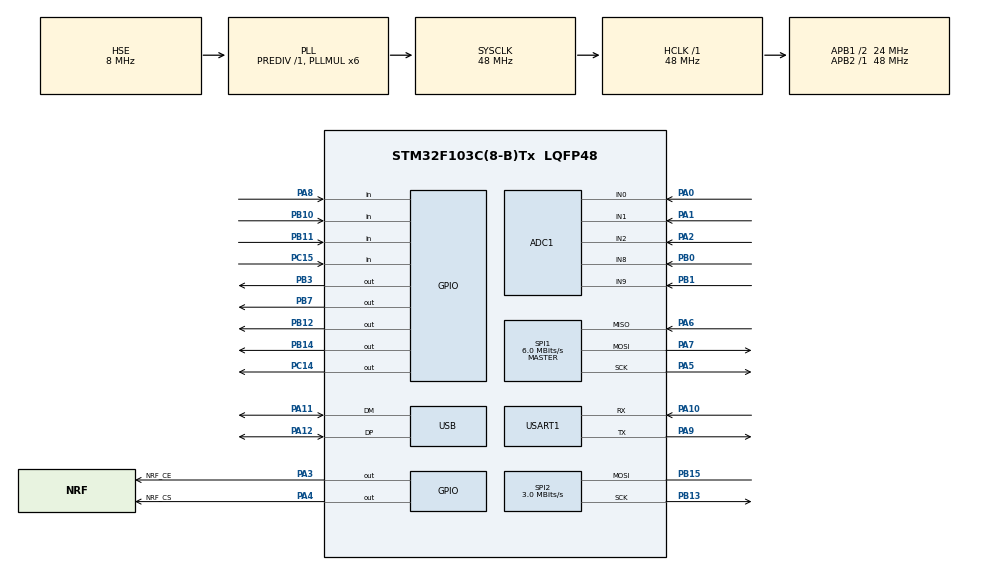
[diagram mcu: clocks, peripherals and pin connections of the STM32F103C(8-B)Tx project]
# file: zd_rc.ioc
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ADC1.Channel-0\#ChannelRegularConversion=ADC_CHANNEL_1
ADC1.Channel-1\#ChannelRegularConversion=ADC_CHANNEL_2
ADC1.Channel-2\#ChannelRegularConversion=ADC_CHANNEL_8
ADC1.Channel-3\#ChannelRegularConversion=ADC_CHANNEL_9
ADC1.ContinuousConvMode=ENABLE
ADC1.NbrOfConversion=4
ADC1.NbrOfConversionFlag=1
ADC1.Rank-0\#ChannelRegularConversion=1
ADC1.Rank-1\#ChannelRegularConversion=2
ADC1.Rank-2\#ChannelRegularConversion=3
ADC1.Rank-3\#ChannelRegularConversion=4
ADC1.SamplingTime-0\#ChannelRegularConversion=ADC_SAMPLETIME_1CYCLE_5
ADC1.SamplingTime-1\#ChannelRegularConversion=ADC_SAMPLETIME_1CYCLE_5
ADC1.SamplingTime-2\#ChannelRegularConversion=ADC_SAMPLETIME_1CYCLE_5
ADC1.SamplingTime-3\#ChannelRegularConversion=ADC_SAMPLETIME_1CYCLE_5
ADC1.master=1
Dma.ADC1.0.Direction=DMA_PERIPH_TO_MEMORY
Dma.ADC1.0.Instance=DMA1_Channel1
Dma.ADC1.0.MemDataAlignment=DMA_MDATAALIGN_WORD
Dma.ADC1.0.MemInc=DMA_MINC_ENABLE
Dma.ADC1.0.Mode=DMA_CIRCULAR
Dma.ADC1.0.PeriphDataAlignment=DMA_PDATAALIGN_WORD
Dma.ADC1.0.PeriphInc=DMA_PINC_DISABLE
Dma.ADC1.0.Priority=DMA_PRIORITY_HIGH
Dma.Request0=ADC1
Mcu.Family=STM32F1
Mcu.Name=STM32F103C(8-B)Tx
Mcu.Package=LQFP48
NVIC.ADC1_2_IRQn=true\:0\:0\:false\:false\:true\:true\:true
NVIC.DMA1_Channel1_IRQn=true\:0\:0\:false\:false\:true\:false\:true
NVIC.PriorityGroup=NVIC_PRIORITYGROUP_4
NVIC.USB_LP_CAN1_RX0_IRQn=true\:0\:0\:false\:false\:true\:false\:true
PA0-WKUP.Signal=ADCx_IN0
PA1.Signal=ADCx_IN1
PA10.Mode=Asynchronous
PA10.Signal=USART1_RX
PA11.Mode=Device
PA11.Signal=USB_DM
PA12.Mode=Device
PA12.Signal=USB_DP
PA13.Mode=Serial_Wire
PA13.Signal=SYS_JTMS-SWDIO
PA14.Mode=Serial_Wire
PA14.Signal=SYS_JTCK-SWCLK
PA2.Signal=ADCx_IN2
PA3.GPIO_Label=NRF_CE
PA3.Signal=GPIO_Output
PA4.GPIO_Label=NRF_CS
PA4.Signal=GPIO_Output
PA5.Mode=Full_Duplex_Master
PA5.Signal=SPI1_SCK
PA6.Mode=Full_Duplex_Master
PA6.Signal=SPI1_MISO
PA7.Mode=Full_Duplex_Master
PA7.Signal=SPI1_MOSI
PA8.GPIO_PuPd=GPIO_PULLUP
PA8.Signal=GPIO_Input
PA9.Mode=Asynchronous
PA9.Signal=USART1_TX
PB0.Signal=ADCx_IN8
PB1.Signal=ADCx_IN9
PB10.GPIO_PuPd=GPIO_PULLUP
PB10.Signal=GPIO_Input
PB11.GPIO_PuPd=GPIO_PULLUP
PB11.Signal=GPIO_Input
PB12.Signal=GPIO_Output
PB13.Mode=Simplex_Bidirectional_Master
PB13.Signal=SPI2_SCK
PB14.Signal=GPIO_Output
PB15.Mode=Simplex_Bidirectional_Master
PB15.Signal=SPI2_MOSI
PB3.Signal=GPIO_Output
PB7.Signal=GPIO_Output
PC14-OSC32_IN.Signal=GPIO_Output
PC15-OSC32_OUT.GPIO_PuPd=GPIO_PULLUP
PC15-OSC32_OUT.Signal=GPIO_Input
PD0-OSC_IN.Mode=HSE-External-Oscillator
PD0-OSC_IN.Signal=RCC_OSC_IN
PD1-OSC_OUT.Mode=HSE-External-Oscillator
PD1-OSC_OUT.Signal=RCC_OSC_OUT
ProjectManager.HeapSize=0x200
ProjectManager.StackSize=0x400
ProjectManager.TargetToolchain=EWARM V8
RCC.ADCPresc=RCC_ADCPCLK2_DIV4
RCC.AHBFreq_Value=48000000
RCC.APB1CLKDivider=RCC_HCLK_DIV2
RCC.APB1Freq_Value=24000000
RCC.APB1TimFreq_Value=48000000
RCC.APB2Freq_Value=48000000
RCC.APB2TimFreq_Value=48000000
RCC.HCLKFreq_Value=48000000
RCC.PLLMUL=RCC_PLL_MUL6
RCC.PLLSourceVirtual=RCC_PLLSOURCE_HSE
RCC.SYSCLKFreq_VALUE=48000000
RCC.SYSCLKSource=RCC_SYSCLKSOURCE_PLLCLK
RCC.USBFreq_Value=48000000
SH.ADCx_IN0.0=ADC1_IN0,IN0
SH.ADCx_IN1.0=ADC1_IN1,IN1
SH.ADCx_IN2.0=ADC1_IN2,IN2
SH.ADCx_IN8.0=ADC1_IN8,IN8
SH.ADCx_IN9.0=ADC1_IN9,IN9
SPI1.BaudRatePrescaler=SPI_BAUDRATEPRESCALER_8
SPI1.CalculateBaudRate=6.0 MBits/s
SPI1.Direction=SPI_DIRECTION_2LINES
SPI1.Mode=SPI_MODE_MASTER
SPI1.VirtualType=VM_MASTER
SPI2.BaudRatePrescaler=SPI_BAUDRATEPRESCALER_8
SPI2.CalculateBaudRate=3.0 MBits/s
SPI2.Direction=SPI_DIRECTION_1LINE
SPI2.Mode=SPI_MODE_MASTER
SPI2.VirtualType=VM_MASTER
USART1.VirtualMode=VM_ASYNC
USB_DEVICE.CLASS_NAME_FS=CDC
USB_DEVICE.VirtualMode=Cdc
USB_DEVICE.VirtualModeFS=Cdc_FS
VP_USB_DEVICE_VS_USB_DEVICE_CDC_FS.Mode=CDC_FS
board=custom

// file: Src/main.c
/* USER CODE BEGIN Header */
/**
  ******************************************************************************
  * @file           : main.c
  * @brief          : Main program body
  ******************************************************************************
  * @attention
  *
  * <h2><center>&copy; Copyright (c) 2019 STMicroelectronics.
  * All rights reserved.</center></h2>
  *
  * This software component is licensed by ST under Ultimate Liberty license
  * SLA0044, the "License"; You may not use this file except in compliance with
  * the License. You may obtain a copy of the License at:
  *                             www.st.com/SLA0044
  *
  ******************************************************************************
  */
/* USER CODE END Header */

#include "main.h"
#include "usb_device.h"

/* USER CODE BEGIN Includes */
#include "MY_NRF24.h"
#include "nrf_mavlink.h"
#include "ssd1306.h"
/* USER CODE END Includes */

ADC_HandleTypeDef hadc1;
DMA_HandleTypeDef hdma_adc1;

SPI_HandleTypeDef hspi1;
SPI_HandleTypeDef hspi2;

UART_HandleTypeDef huart1;

void SystemClock_Config(void);
static void MX_GPIO_Init(void);
static void MX_DMA_Init(void);
static void MX_ADC1_Init(void);
static void MX_SPI1_Init(void);
static void MX_USART1_UART_Init(void);
static void MX_SPI2_Init(void);
/* USER CODE BEGIN PFP */
void setup(void);
void loop(void);
/* USER CODE END PFP */

/* USER CODE BEGIN 0 */
uint64_t RxpipeAddrs = 0x11223344AA;
/* USER CODE END 0 */

int main(void)
{

  /* MCU Configuration--------------------------------------------------------*/

  /* Reset of all peripherals, Initializes the Flash interface and the Systick. */
  HAL_Init();

  /* Configure the system clock */
  SystemClock_Config();

  /* Initialize all configured peripherals */
  MX_GPIO_Init();
  MX_DMA_Init();
  MX_ADC1_Init();
  MX_SPI1_Init();
  MX_USART1_UART_Init();
  MX_SPI2_Init();
  MX_USB_DEVICE_Init();
  /* USER CODE BEGIN 2 */
  HAL_GPIO_WritePin(GPIOB, GPIO_PIN_3, GPIO_PIN_SET);
  HAL_GPIO_WritePin(GPIOB, GPIO_PIN_7, GPIO_PIN_SET);
  NRF24_begin(NRF_CE_GPIO_Port, NRF_CS_Pin, NRF_CE_Pin, hspi1);
  printRadioSettings();

  NRF24_setAutoAck(true);
  NRF24_setChannel(52);
  NRF24_setPayloadSize(32);
  NRF24_openReadingPipe(1, RxpipeAddrs);

  NRF24_enableDynamicPayloads();
  NRF24_enableAckPayload();

  NRF24_startListening();

  SSD1306_Init();

  setup();
  /* USER CODE END 2 */

  /* Infinite loop */
  /* USER CODE BEGIN WHILE */
  while (1)
  {
    update_mavlink();
    loop();
    /* USER CODE END WHILE */

  }
}

void SystemClock_Config(void)
{
  RCC_OscInitTypeDef RCC_OscInitStruct = {0};
  RCC_ClkInitTypeDef RCC_ClkInitStruct = {0};
  RCC_PeriphCLKInitTypeDef PeriphClkInit = {0};

  /** Initializes the CPU, AHB and APB busses clocks
  */
  RCC_OscInitStruct.OscillatorType = RCC_OSCILLATORTYPE_HSE;
  RCC_OscInitStruct.HSEState = RCC_HSE_ON;
  RCC_OscInitStruct.HSEPredivValue = RCC_HSE_PREDIV_DIV1;
  RCC_OscInitStruct.HSIState = RCC_HSI_ON;
  RCC_OscInitStruct.PLL.PLLState = RCC_PLL_ON;
  RCC_OscInitStruct.PLL.PLLSource = RCC_PLLSOURCE_HSE;
  RCC_OscInitStruct.PLL.PLLMUL = RCC_PLL_MUL6;
  if (HAL_RCC_OscConfig(&RCC_OscInitStruct) != HAL_OK)
  {
    Error_Handler();
  }
  /** Initializes the CPU, AHB and APB busses clocks
  */
  RCC_ClkInitStruct.ClockType = RCC_CLOCKTYPE_HCLK|RCC_CLOCKTYPE_SYSCLK
                              |RCC_CLOCKTYPE_PCLK1|RCC_CLOCKTYPE_PCLK2;
  RCC_ClkInitStruct.SYSCLKSource = RCC_SYSCLKSOURCE_PLLCLK;
  RCC_ClkInitStruct.AHBCLKDivider = RCC_SYSCLK_DIV1;
  RCC_ClkInitStruct.APB1CLKDivider = RCC_HCLK_DIV2;
  RCC_ClkInitStruct.APB2CLKDivider = RCC_HCLK_DIV1;

  if (HAL_RCC_ClockConfig(&RCC_ClkInitStruct, FLASH_LATENCY_1) != HAL_OK)
  {
    Error_Handler();
  }
  PeriphClkInit.PeriphClockSelection = RCC_PERIPHCLK_ADC|RCC_PERIPHCLK_USB;
  PeriphClkInit.AdcClockSelection = RCC_ADCPCLK2_DIV4;
  PeriphClkInit.UsbClockSelection = RCC_USBCLKSOURCE_PLL;
  if (HAL_RCCEx_PeriphCLKConfig(&PeriphClkInit) != HAL_OK)
  {
    Error_Handler();
  }
}

static void MX_ADC1_Init(void)
{

  ADC_ChannelConfTypeDef sConfig = {0};

  /** Common config
  */
  hadc1.Instance = ADC1;
  hadc1.Init.ScanConvMode = ADC_SCAN_ENABLE;
  hadc1.Init.ContinuousConvMode = ENABLE;
  hadc1.Init.DiscontinuousConvMode = DISABLE;
  hadc1.Init.ExternalTrigConv = ADC_SOFTWARE_START;
  hadc1.Init.DataAlign = ADC_DATAALIGN_RIGHT;
  hadc1.Init.NbrOfConversion = 4;
  if (HAL_ADC_Init(&hadc1) != HAL_OK)
  {
    Error_Handler();
  }
  /** Configure Regular Channel
  */
  sConfig.Channel = ADC_CHANNEL_1;
  sConfig.Rank = ADC_REGULAR_RANK_1;
  sConfig.SamplingTime = ADC_SAMPLETIME_1CYCLE_5;
  if (HAL_ADC_ConfigChannel(&hadc1, &sConfig) != HAL_OK)
  {
    Error_Handler();
  }
  /** Configure Regular Channel
  */
  sConfig.Channel = ADC_CHANNEL_2;
  sConfig.Rank = ADC_REGULAR_RANK_2;
  if (HAL_ADC_ConfigChannel(&hadc1, &sConfig) != HAL_OK)
  {
    Error_Handler();
  }
  /** Configure Regular Channel
  */
  sConfig.Channel = ADC_CHANNEL_8;
  sConfig.Rank = ADC_REGULAR_RANK_3;
  if (HAL_ADC_ConfigChannel(&hadc1, &sConfig) != HAL_OK)
  {
    Error_Handler();
  }
  /** Configure Regular Channel
  */
  sConfig.Channel = ADC_CHANNEL_9;
  sConfig.Rank = ADC_REGULAR_RANK_4;
  if (HAL_ADC_ConfigChannel(&hadc1, &sConfig) != HAL_OK)
  {
    Error_Handler();
  }

}

static void MX_SPI1_Init(void)
{

  /* SPI1 parameter configuration*/
  hspi1.Instance = SPI1;
  hspi1.Init.Mode = SPI_MODE_MASTER;
  hspi1.Init.Direction = SPI_DIRECTION_2LINES;
  hspi1.Init.DataSize = SPI_DATASIZE_8BIT;
  hspi1.Init.CLKPolarity = SPI_POLARITY_LOW;
  hspi1.Init.CLKPhase = SPI_PHASE_1EDGE;
  hspi1.Init.NSS = SPI_NSS_SOFT;
  hspi1.Init.BaudRatePrescaler = SPI_BAUDRATEPRESCALER_8;
  hspi1.Init.FirstBit = SPI_FIRSTBIT_MSB;
  hspi1.Init.TIMode = SPI_TIMODE_DISABLE;
  hspi1.Init.CRCCalculation = SPI_CRCCALCULATION_DISABLE;
  hspi1.Init.CRCPolynomial = 10;
  if (HAL_SPI_Init(&hspi1) != HAL_OK)
  {
    Error_Handler();
  }

}

static void MX_SPI2_Init(void)
{

  /* SPI2 parameter configuration*/
  hspi2.Instance = SPI2;
  hspi2.Init.Mode = SPI_MODE_MASTER;
  hspi2.Init.Direction = SPI_DIRECTION_1LINE;
  hspi2.Init.DataSize = SPI_DATASIZE_8BIT;
  hspi2.Init.CLKPolarity = SPI_POLARITY_LOW;
  hspi2.Init.CLKPhase = SPI_PHASE_1EDGE;
  hspi2.Init.NSS = SPI_NSS_SOFT;
  hspi2.Init.BaudRatePrescaler = SPI_BAUDRATEPRESCALER_8;
  hspi2.Init.FirstBit = SPI_FIRSTBIT_MSB;
  hspi2.Init.TIMode = SPI_TIMODE_DISABLE;
  hspi2.Init.CRCCalculation = SPI_CRCCALCULATION_DISABLE;
  hspi2.Init.CRCPolynomial = 10;
  if (HAL_SPI_Init(&hspi2) != HAL_OK)
  {
    Error_Handler();
  }

}

static void MX_USART1_UART_Init(void)
{

  huart1.Instance = USART1;
  huart1.Init.BaudRate = 115200;
  huart1.Init.WordLength = UART_WORDLENGTH_8B;
  huart1.Init.StopBits = UART_STOPBITS_1;
  huart1.Init.Parity = UART_PARITY_NONE;
  huart1.Init.Mode = UART_MODE_TX_RX;
  huart1.Init.HwFlowCtl = UART_HWCONTROL_NONE;
  huart1.Init.OverSampling = UART_OVERSAMPLING_16;
  if (HAL_UART_Init(&huart1) != HAL_OK)
  {
    Error_Handler();
  }

}

static void MX_DMA_Init(void)
{
  /* DMA controller clock enable */
  __HAL_RCC_DMA1_CLK_ENABLE();

  /* DMA interrupt init */
  /* DMA1_Channel1_IRQn interrupt configuration */
  HAL_NVIC_SetPriority(DMA1_Channel1_IRQn, 0, 0);
  HAL_NVIC_EnableIRQ(DMA1_Channel1_IRQn);

}

static void MX_GPIO_Init(void)
{
  GPIO_InitTypeDef GPIO_InitStruct = {0};

  /* GPIO Ports Clock Enable */
  __HAL_RCC_GPIOC_CLK_ENABLE();
  __HAL_RCC_GPIOD_CLK_ENABLE();
  __HAL_RCC_GPIOA_CLK_ENABLE();
  __HAL_RCC_GPIOB_CLK_ENABLE();

  /*Configure GPIO pin Output Level */
  HAL_GPIO_WritePin(GPIOC, GPIO_PIN_14, GPIO_PIN_RESET);

  /*Configure GPIO pin Output Level */
  HAL_GPIO_WritePin(GPIOA, NRF_CE_Pin|NRF_CS_Pin, GPIO_PIN_RESET);

  /*Configure GPIO pin Output Level */
  HAL_GPIO_WritePin(GPIOB, GPIO_PIN_12|GPIO_PIN_14|GPIO_PIN_3|GPIO_PIN_7, GPIO_PIN_RESET);

  /*Configure GPIO pin : PC14 */
  GPIO_InitStruct.Pin = GPIO_PIN_14;
  GPIO_InitStruct.Mode = GPIO_MODE_OUTPUT_PP;
  GPIO_InitStruct.Pull = GPIO_NOPULL;
  GPIO_InitStruct.Speed = GPIO_SPEED_FREQ_LOW;
  HAL_GPIO_Init(GPIOC, &GPIO_InitStruct);

  /*Configure GPIO pin : PC15 */
  GPIO_InitStruct.Pin = GPIO_PIN_15;
  GPIO_InitStruct.Mode = GPIO_MODE_INPUT;
  GPIO_InitStruct.Pull = GPIO_PULLUP;
  HAL_GPIO_Init(GPIOC, &GPIO_InitStruct);

  /*Configure GPIO pins : NRF_CE_Pin NRF_CS_Pin */
  GPIO_InitStruct.Pin = NRF_CE_Pin|NRF_CS_Pin;
  GPIO_InitStruct.Mode = GPIO_MODE_OUTPUT_PP;
  GPIO_InitStruct.Pull = GPIO_NOPULL;
  GPIO_InitStruct.Speed = GPIO_SPEED_FREQ_LOW;
  HAL_GPIO_Init(GPIOA, &GPIO_InitStruct);

  /*Configure GPIO pins : PB10 PB11 */
  GPIO_InitStruct.Pin = GPIO_PIN_10|GPIO_PIN_11;
  GPIO_InitStruct.Mode = GPIO_MODE_INPUT;
  GPIO_InitStruct.Pull = GPIO_PULLUP;
  HAL_GPIO_Init(GPIOB, &GPIO_InitStruct);

  /*Configure GPIO pins : PB12 PB14 PB3 PB7 */
  GPIO_InitStruct.Pin = GPIO_PIN_12|GPIO_PIN_14|GPIO_PIN_3|GPIO_PIN_7;
  GPIO_InitStruct.Mode = GPIO_MODE_OUTPUT_PP;
  GPIO_InitStruct.Pull = GPIO_NOPULL;
  GPIO_InitStruct.Speed = GPIO_SPEED_FREQ_LOW;
  HAL_GPIO_Init(GPIOB, &GPIO_InitStruct);

  /*Configure GPIO pin : PA8 */
  GPIO_InitStruct.Pin = GPIO_PIN_8;
  GPIO_InitStruct.Mode = GPIO_MODE_INPUT;
  GPIO_InitStruct.Pull = GPIO_PULLUP;
  HAL_GPIO_Init(GPIOA, &GPIO_InitStruct);

}

void Error_Handler(void)
{
}

/************************ (C) COPYRIGHT STMicroelectronics *****END OF FILE****/
